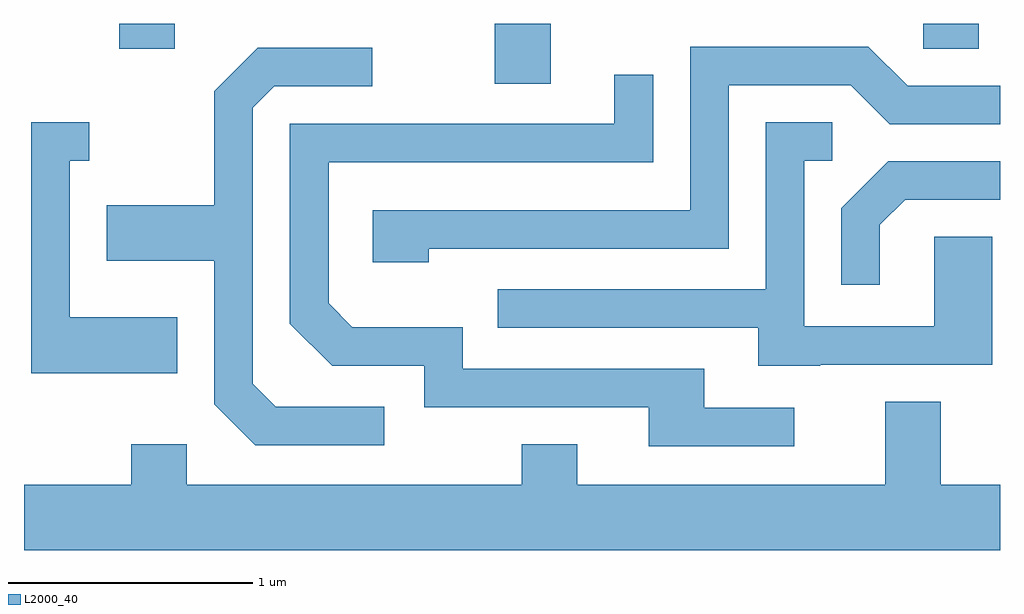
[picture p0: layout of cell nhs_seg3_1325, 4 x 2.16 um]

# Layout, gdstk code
import gdstk
lib = gdstk.Library(unit=1e-6, precision=1e-09)
def R(c, l, rs):  # rectangles x0, y0, x1, y1
    for r in rs: c.add(gdstk.rectangle(r[:2], r[2:], *l))
def P(c, l, *ps):  # polygons
    for p in ps: c.add(gdstk.Polygon(p, *l))
L2000_40 = (2000, 40)

nhs_seg3_1325 = lib.new_cell('nhs_seg3_1325')
R(nhs_seg3_1325, L2000_40, [(225.541,1185.646,225.769,1185.892), (224.001,1185.791,224.229,1185.892), (227.296,1185.791,227.524,1185.892)])
P(nhs_seg3_1325, L2000_40, [(225.269,1184.971),(226.499,1184.971),(226.499,1185.641),(226.999,1185.641),(227.159,1185.481),(227.611,1185.481),(227.611,1185.639),(227.232,1185.639),(227.072,1185.799),(226.341,1185.799),(226.341,1185.129),(225.041,1185.129),(225.041,1184.916),(225.269,1184.916)],
  [(225.088,1184.324),(224.642,1184.324),(224.549,1184.417),(224.549,1185.549),(224.637,1185.636),(225.038,1185.636),(225.038,1185.794),(224.569,1185.794),(224.391,1185.617),(224.391,1185.149),(223.951,1185.149),(223.951,1184.921),(224.391,1184.921),(224.391,1184.334),(224.559,1184.166),(225.088,1184.166)],
  [(226.768,1184.319),(226.399,1184.319),(226.399,1184.479),(225.409,1184.479),(225.409,1184.649),(224.957,1184.649),(224.859,1184.747),(224.859,1185.326),(226.189,1185.326),(226.189,1185.683),(226.031,1185.683),(226.031,1185.484),(224.701,1185.484),(224.701,1184.664),(224.874,1184.491),(225.251,1184.491),(225.251,1184.321),(226.171,1184.321),(226.171,1184.161),(226.768,1184.161)],
  [(224.239,1184.689),(223.799,1184.689),(223.799,1185.331),(223.878,1185.331),(223.878,1185.489),(223.641,1185.489),(223.641,1184.461),(224.239,1184.461)],
  [(226.875,1184.496),(227.579,1184.496),(227.579,1185.019),(227.341,1185.019),(227.341,1184.654),(226.809,1184.654),(226.809,1185.331),(226.923,1185.331),(226.923,1185.489),(226.651,1185.489),(226.651,1184.804),(225.553,1184.804),(225.553,1184.646),(226.621,1184.646),(226.621,1184.491),(226.875,1184.491)],
  [(227.119,1185.069),(227.222,1185.171),(227.611,1185.171),(227.611,1185.329),(227.154,1185.329),(226.961,1185.137),(226.961,1184.823),(227.119,1184.823)],
  [(227.611,1184.004),(227.369,1184.004),(227.369,1184.344),(227.141,1184.344),(227.141,1184.004),(225.879,1184.004),(225.879,1184.169),(225.651,1184.169),(225.651,1184.004),(224.279,1184.004),(224.279,1184.169),(224.051,1184.169),(224.051,1184.004),(223.611,1184.004),(223.611,1183.736),(227.611,1183.736)])

lib.write_gds('nhs_seg3_1325.gds')
